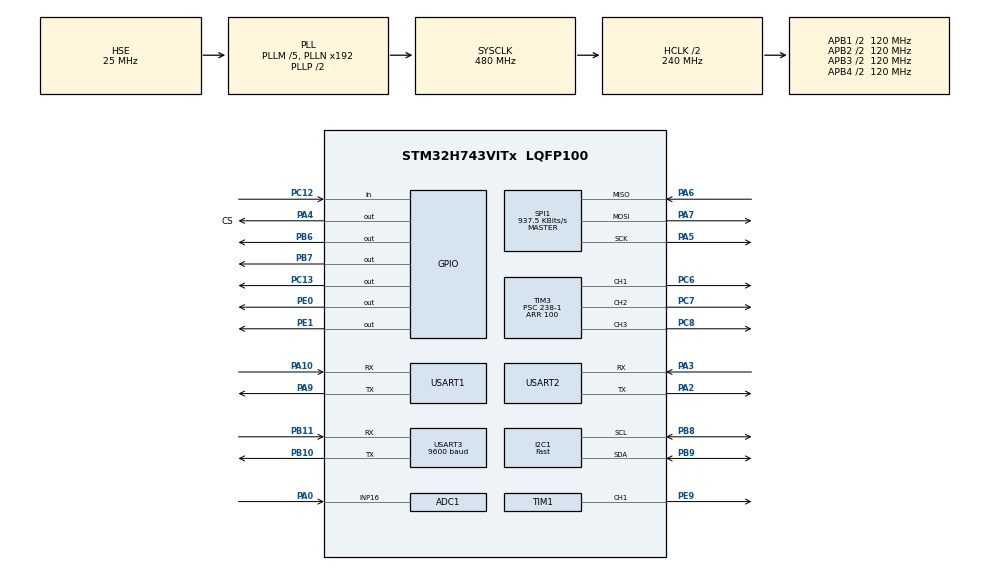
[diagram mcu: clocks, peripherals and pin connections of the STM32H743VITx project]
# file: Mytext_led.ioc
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ADC1.Channel-5\#ChannelRegularConversion=ADC_CHANNEL_16
ADC1.ContinuousConvMode=ENABLE
ADC1.NbrOfConversionFlag=1
ADC1.OffsetNumber-5\#ChannelRegularConversion=ADC_OFFSET_NONE
ADC1.OffsetSignedSaturation-5\#ChannelRegularConversion=DISABLE
ADC1.Rank-5\#ChannelRegularConversion=1
ADC1.SamplingTime-5\#ChannelRegularConversion=ADC_SAMPLETIME_387CYCLES_5
ADC1.master=1
CORTEX_M7.default_mode_Activation=1
FREERTOS.Tasks01=defaultTask,24,128,StartDefaultTask,Default,NULL,Dynamic,NULL,NULL
FREERTOS.configTOTAL_HEAP_SIZE=30000
I2C1.I2C_Speed_Mode=I2C_Fast
I2C1.Timing=0x00B03FDB
Mcu.Family=STM32H7
Mcu.Name=STM32H743VITx
Mcu.Package=LQFP100
NVIC.PriorityGroup=NVIC_PRIORITYGROUP_4
NVIC.TIM7_IRQn=true\:15\:0\:false\:false\:true\:false\:false\:true\:true
NVIC.TimeBase=TIM7_IRQn
NVIC.TimeBaseIP=TIM7
NVIC.USART2_IRQn=true\:5\:0\:false\:false\:true\:true\:true\:true\:true
NVIC.USART3_IRQn=true\:5\:0\:false\:false\:true\:true\:true\:true\:true
PA0.Mode=IN16-Single-Ended
PA0.Signal=ADC1_INP16
PA10.Mode=Asynchronous
PA10.Signal=USART1_RX
PA2.Mode=Asynchronous
PA2.Signal=USART2_TX
PA3.Mode=Asynchronous
PA3.Signal=USART2_RX
PA4.GPIO_Label=CS
PA4.PinState=GPIO_PIN_SET
PA4.Signal=GPIO_Output
PA5.Mode=Full_Duplex_Master
PA5.Signal=SPI1_SCK
PA6.Mode=Full_Duplex_Master
PA6.Signal=SPI1_MISO
PA7.Mode=Full_Duplex_Master
PA7.Signal=SPI1_MOSI
PA9.Mode=Asynchronous
PA9.Signal=USART1_TX
PB10.Mode=Asynchronous
PB10.Signal=USART3_TX
PB11.Mode=Asynchronous
PB11.Signal=USART3_RX
PB6.Signal=GPIO_Output
PB7.Signal=GPIO_Output
PB8.Mode=I2C
PB8.Signal=I2C1_SCL
PB9.Mode=I2C
PB9.Signal=I2C1_SDA
PC12.Signal=GPIO_Input
PC13.Signal=GPIO_Output
PC14-OSC32_IN\ (OSC32_IN).Mode=LSE-External-Oscillator
PC14-OSC32_IN\ (OSC32_IN).Signal=RCC_OSC32_IN
PC15-OSC32_OUT\ (OSC32_OUT).Mode=LSE-External-Oscillator
PC15-OSC32_OUT\ (OSC32_OUT).Signal=RCC_OSC32_OUT
PC6.Signal=S_TIM3_CH1
PC7.Signal=S_TIM3_CH2
PC8.Signal=S_TIM3_CH3
PE0.Signal=GPIO_Output
PE1.Signal=GPIO_Output
PE9.Signal=S_TIM1_CH1
PH0-OSC_IN\ (PH0).Mode=HSE-External-Oscillator
PH0-OSC_IN\ (PH0).Signal=RCC_OSC_IN
PH1-OSC_OUT\ (PH1).Mode=HSE-External-Oscillator
PH1-OSC_OUT\ (PH1).Signal=RCC_OSC_OUT
ProjectManager.HeapSize=0x200
ProjectManager.StackSize=0x400
ProjectManager.TargetToolchain=MDK-ARM V5.32
RCC.ADCCLockSelection=RCC_ADCCLKSOURCE_CLKP
RCC.ADCFreq_Value=64000000
RCC.APB1Freq_Value=120000000
RCC.APB2Freq_Value=120000000
RCC.APB3Freq_Value=120000000
RCC.APB4Freq_Value=120000000
RCC.CortexFreq_Value=480000000
RCC.D1PPRE=RCC_APB3_DIV2
RCC.D2PPRE1=RCC_APB1_DIV2
RCC.D2PPRE2=RCC_APB2_DIV2
RCC.D3PPRE=RCC_APB4_DIV2
RCC.DIVM1=5
RCC.DIVM2=5
RCC.DIVM3=5
RCC.DIVN1=192
RCC.DIVN2=48
RCC.DIVN3=48
RCC.HCLKFreq_Value=240000000
RCC.HPRE=RCC_HCLK_DIV2
RCC.PLL2FRACN=0
RCC.PLL3FRACN=0
RCC.PLLFRACN=0
RCC.PLLSourceVirtual=RCC_PLLSOURCE_HSE
RCC.SPI123CLockSelection=RCC_SPI123CLKSOURCE_PLL3
RCC.SYSCLKFreq_VALUE=480000000
RCC.SYSCLKSource=RCC_SYSCLKSOURCE_PLLCLK
RCC.USBFreq_Value=480000000
SH.S_TIM1_CH1.0=TIM1_CH1,PWM Generation1 CH1
SH.S_TIM3_CH1.0=TIM3_CH1,PWM Generation1 CH1
SH.S_TIM3_CH2.0=TIM3_CH2,PWM Generation2 CH2
SH.S_TIM3_CH3.0=TIM3_CH3,PWM Generation3 CH3
SPI1.BaudRatePrescaler=SPI_BAUDRATEPRESCALER_128
SPI1.CLKPhase=SPI_PHASE_2EDGE
SPI1.CalculateBaudRate=937.5 KBits/s
SPI1.DataSize=SPI_DATASIZE_8BIT
SPI1.Direction=SPI_DIRECTION_2LINES
SPI1.Mode=SPI_MODE_MASTER
SPI1.VirtualType=VM_MASTER
STMicroelectronics.X-CUBE-ALGOBUILD.1.3.0.LibraryCcDSPOoLibraryJjDSPOoLibrary=true
TIM1.Channel-PWM\ Generation1\ CH1=TIM_CHANNEL_1
TIM1.Period=19999
TIM1.Prescaler=399
TIM1.Pulse-PWM\ Generation1\ CH1=1500
TIM3.Channel-PWM\ Generation1\ CH1=TIM_CHANNEL_1
TIM3.Channel-PWM\ Generation2\ CH2=TIM_CHANNEL_2
TIM3.Channel-PWM\ Generation3\ CH3=TIM_CHANNEL_3
TIM3.Period=100
TIM3.Prescaler=238-1
USART1.VirtualMode-Asynchronous=VM_ASYNC
USART2.VirtualMode-Asynchronous=VM_ASYNC
USART3.BaudRate=9600
USART3.VirtualMode-Asynchronous=VM_ASYNC
VP_FREERTOS_VS_CMSIS_V2.Mode=CMSIS_V2
VP_MEMORYMAP_VS_MEMORYMAP.Mode=CurAppReg
VP_STMicroelectronics.X-CUBE-ALGOBUILD_VS_DSPOoLibraryJjLibrary_1.3.0_1.3.0.Mode=DSPOoLibraryJjLibrary
VP_SYS_VS_tim7.Mode=TIM7
board=custom

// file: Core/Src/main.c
/* USER CODE BEGIN Header */
/**
  ******************************************************************************
  * @file           : main.c
  * @brief          : Main program body
  ******************************************************************************
  */
/* USER CODE END Header */
#include "main.h"
#include "cmsis_os.h"
#include "adc.h"
#include "i2c.h"
#include "spi.h"
#include "tim.h"
#include "usart.h"
#include "gpio.h"

/* USER CODE BEGIN Includes */
#include <stdio.h>
#include <string.h>
#include "led.h"
#include "attention.h"
#include "arm_math.h"
#include "servo.h"
#include "L431_uart.h"

#include "IIC.h"
#include "inv_mpu.h"
#include "inv_mpu_dmp_motion_driver.h"
#include "mpu6050.h"
#include "stdio.h"
#include "3TOF3Motor.h"
/* USER CODE END Includes */

void SystemClock_Config(void);
void PeriphCommonClock_Config(void);
static void MPU_Config(void);
void MX_FREERTOS_Init(void);

int main(void)
{

  /* MPU Configuration--------------------------------------------------------*/
  MPU_Config();

  /* MCU Configuration--------------------------------------------------------*/

  /* Reset of all peripherals, Initializes the Flash interface and the Systick. */
  HAL_Init();

  /* Configure the system clock */
  SystemClock_Config();

  /* Configure the peripherals common clocks */
  PeriphCommonClock_Config();

  /* Initialize all configured peripherals */
  MX_GPIO_Init();
  MX_SPI1_Init();
  MX_USART1_UART_Init();
  MX_USART3_UART_Init();
  MX_ADC1_Init();
  MX_USART2_UART_Init();
  MX_TIM1_Init();
  MX_I2C1_Init();
  MX_TIM3_Init();
  /* USER CODE BEGIN 2 */
    SCB_EnableICache();
    SCB_EnableDCache();

	// 启动 USART2 中断接收
	App_UART_Init();

	// 初始化舵机（归中）
    Servo_Init();

    printf("FreeRTOS version: simulated attention -> servo smoothing.\r\n");

	// MPU6050 初始化（软件 I2C）
	MPU_Init();
	if (mpu_dmp_init() != 0) {
		printf("DMP init failed!\r\n");
	} else {
		printf("DMP init success.\r\n");
	}

	Balance_Init();

  /* USER CODE END 2 */

  /* Init scheduler */
  osKernelInitialize();  /* Call init function for freertos objects (in cmsis_os2.c) */
  MX_FREERTOS_Init();

  /* Start scheduler */
  osKernelStart();

  /* We should never get here as control is now taken by the scheduler */

  /* Infinite loop */
  while (1)
  {

  }
}

void SystemClock_Config(void)
{
  RCC_OscInitTypeDef RCC_OscInitStruct = {0};
  RCC_ClkInitTypeDef RCC_ClkInitStruct = {0};

  /** Supply configuration update enable
  */
  HAL_PWREx_ConfigSupply(PWR_LDO_SUPPLY);

  /** Configure the main internal regulator output voltage
  */
  __HAL_PWR_VOLTAGESCALING_CONFIG(PWR_REGULATOR_VOLTAGE_SCALE0);

  while(!__HAL_PWR_GET_FLAG(PWR_FLAG_VOSRDY)) {}

  /** Initializes the RCC Oscillators according to the specified parameters
  * in the RCC_OscInitTypeDef structure.
  */
  RCC_OscInitStruct.OscillatorType = RCC_OSCILLATORTYPE_HSI|RCC_OSCILLATORTYPE_HSE;
  RCC_OscInitStruct.HSEState = RCC_HSE_ON;
  RCC_OscInitStruct.HSIState = RCC_HSI_DIV1;
  RCC_OscInitStruct.HSICalibrationValue = RCC_HSICALIBRATION_DEFAULT;
  RCC_OscInitStruct.PLL.PLLState = RCC_PLL_ON;
  RCC_OscInitStruct.PLL.PLLSource = RCC_PLLSOURCE_HSE;
  RCC_OscInitStruct.PLL.PLLM = 5;
  RCC_OscInitStruct.PLL.PLLN = 192;
  RCC_OscInitStruct.PLL.PLLP = 2;
  RCC_OscInitStruct.PLL.PLLQ = 2;
  RCC_OscInitStruct.PLL.PLLR = 2;
  RCC_OscInitStruct.PLL.PLLRGE = RCC_PLL1VCIRANGE_2;
  RCC_OscInitStruct.PLL.PLLVCOSEL = RCC_PLL1VCOWIDE;
  RCC_OscInitStruct.PLL.PLLFRACN = 0;
  if (HAL_RCC_OscConfig(&RCC_OscInitStruct) != HAL_OK)
  {
    Error_Handler();
  }

  /** Initializes the CPU, AHB and APB buses clocks
  */
  RCC_ClkInitStruct.ClockType = RCC_CLOCKTYPE_HCLK|RCC_CLOCKTYPE_SYSCLK
                              |RCC_CLOCKTYPE_PCLK1|RCC_CLOCKTYPE_PCLK2
                              |RCC_CLOCKTYPE_D3PCLK1|RCC_CLOCKTYPE_D1PCLK1;
  RCC_ClkInitStruct.SYSCLKSource = RCC_SYSCLKSOURCE_PLLCLK;
  RCC_ClkInitStruct.SYSCLKDivider = RCC_SYSCLK_DIV1;
  RCC_ClkInitStruct.AHBCLKDivider = RCC_HCLK_DIV2;
  RCC_ClkInitStruct.APB3CLKDivider = RCC_APB3_DIV2;
  RCC_ClkInitStruct.APB1CLKDivider = RCC_APB1_DIV2;
  RCC_ClkInitStruct.APB2CLKDivider = RCC_APB2_DIV2;
  RCC_ClkInitStruct.APB4CLKDivider = RCC_APB4_DIV2;

  if (HAL_RCC_ClockConfig(&RCC_ClkInitStruct, FLASH_LATENCY_4) != HAL_OK)
  {
    Error_Handler();
  }
}

void PeriphCommonClock_Config(void)
{
  RCC_PeriphCLKInitTypeDef PeriphClkInitStruct = {0};

  /** Initializes the peripherals clock
  */
  PeriphClkInitStruct.PeriphClockSelection = RCC_PERIPHCLK_CKPER;
  PeriphClkInitStruct.CkperClockSelection = RCC_CLKPSOURCE_HSI;
  if (HAL_RCCEx_PeriphCLKConfig(&PeriphClkInitStruct) != HAL_OK)
  {
    Error_Handler();
  }
}

 /* MPU Configuration */

void MPU_Config(void)
{
  MPU_Region_InitTypeDef MPU_InitStruct = {0};

  /* Disables the MPU */
  HAL_MPU_Disable();

  /** Initializes and configures the Region and the memory to be protected
  */
  MPU_InitStruct.Enable = MPU_REGION_ENABLE;
  MPU_InitStruct.Number = MPU_REGION_NUMBER0;
  MPU_InitStruct.BaseAddress = 0x0;
  MPU_InitStruct.Size = MPU_REGION_SIZE_4GB;
  MPU_InitStruct.SubRegionDisable = 0x87;
  MPU_InitStruct.TypeExtField = MPU_TEX_LEVEL0;
  MPU_InitStruct.AccessPermission = MPU_REGION_NO_ACCESS;
  MPU_InitStruct.DisableExec = MPU_INSTRUCTION_ACCESS_DISABLE;
  MPU_InitStruct.IsShareable = MPU_ACCESS_SHAREABLE;
  MPU_InitStruct.IsCacheable = MPU_ACCESS_NOT_CACHEABLE;
  MPU_InitStruct.IsBufferable = MPU_ACCESS_NOT_BUFFERABLE;

  HAL_MPU_ConfigRegion(&MPU_InitStruct);
  /* Enables the MPU */
  HAL_MPU_Enable(MPU_PRIVILEGED_DEFAULT);

}

void HAL_TIM_PeriodElapsedCallback(TIM_HandleTypeDef *htim)
{
  if (htim->Instance == TIM7)
  {
    HAL_IncTick();
  }
}

void Error_Handler(void)
{
  __disable_irq();
  while (1)
  {
  }
}

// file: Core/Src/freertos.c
/* USER CODE BEGIN Header */
/**
  ******************************************************************************
  * File Name          : freertos.c
  * Description        : Code for freertos applications
  ******************************************************************************
  * @attention
  *
  * Copyright (c) 2026 STMicroelectronics.
  * All rights reserved.
  *
  * This software is licensed under terms that can be found in the LICENSE file
  * in the root directory of this software component.
  * If no LICENSE file comes with this software, it is provided AS-IS.
  *
  ******************************************************************************
  */
/* USER CODE END Header */

#include "FreeRTOS.h"
#include "task.h"
#include "main.h"
#include "cmsis_os.h"

/* USER CODE BEGIN Includes */
#include "servo.h"
#include <stdio.h>
#include "queue.h"
#include "attention.h"
#include "mpu6050.h"
#include "inv_mpu.h"
#include "inv_mpu_dmp_motion_driver.h"
#include "3TOF3Motor.h"
#include "balance.h"
/* USER CODE END Includes */

/* USER CODE BEGIN PD */
#define SIM_ATT_MIN     0
#define SIM_ATT_MAX     100
#define SIM_STEP        1
#define SIM_DELAY_MS    50      // 模拟专注度变化间隔 (ms)

extern I2C_HandleTypeDef hi2c1;
extern UART_HandleTypeDef huart3;

typedef struct {
    float amplitude;        // 摆动幅度（度）
    uint16_t half_period_ms; // 摆动半周期（ms）
} SwingParams_t;

static const SwingParams_t swing_modes[4] = {
    // 索引0不用，档位1~3对应1,2,3
    {0.0f, 0},          // 占位
    {30.0f, 800},       // 档位1: 极度不专注 -> 大幅摆动，周期1.6秒
    {15.0f,  600},       // 档位2: 稍微不专注 -> 中幅摆动，周期1.2秒
    {0.0f,  0}        // 档位3: 专注 -> 轻微摆动（几乎静止）
};

/* USER CODE END PD */

/* USER CODE BEGIN Variables */

float current_roll = 0.0f;

// 队列句柄：用于传递从 L431 收到的完整数据行（每行最大32字节）
QueueHandle_t xUART_LineQueue = NULL;
// 队列句柄：用于传递专注度值 (0~100)
QueueHandle_t xAttentionQueue = NULL;
 // 队列句柄：用于传递距离
QueueHandle_t xTOFQueue = NULL;

/* USER CODE END Variables */
/* Definitions for defaultTask */
osThreadId_t defaultTaskHandle;
const osThreadAttr_t defaultTask_attributes = {
  .name = "defaultTask",
  .stack_size = 128 * 4,
  .priority = (osPriority_t) osPriorityNormal,
};

/* USER CODE BEGIN FunctionPrototypes */
void vAttentionSimulatorTask(void *pvParameters);
void vServoControlTask(void *pvParameters);
void vUART_ProcessTask(void *pvParameters);
void vMPU6050_Task(void *pvParameters);
void vTOF_ReadTask(void *pvParameters);
void vBalanceControlTask(void *pvParameters);
//void vMPU6050_Task(void *pvParameters);
/* USER CODE END FunctionPrototypes */

void StartDefaultTask(void *argument);

void MX_FREERTOS_Init(void); /* (MISRA C 2004 rule 8.1) */

void MX_FREERTOS_Init(void) {

  /* USER CODE BEGIN RTOS_QUEUES */
  /* add queues, ... */

  // 创建专注度队列（容量10，每个元素为 uint8_t）
  xAttentionQueue = xQueueCreate(50, sizeof(uint8_t));
  if (xAttentionQueue == NULL) while(1);

  // 创建行数据队列（容量20，每个元素为32字节，足够存放一行 "ch1,ch2\n" 字符串
  xUART_LineQueue = xQueueCreate(20, 32);
  if (xUART_LineQueue == NULL) while(1);

  // 创建距离队列（容量10，每个元素为 uint32_t）
  xTOFQueue = xQueueCreate(10, sizeof(uint32_t)*2);
  if (xTOFQueue == NULL) while(1);   // 修正变量名
  /* USER CODE END RTOS_QUEUES */

  /* Create the thread(s) */
  /* creation of defaultTask */
  defaultTaskHandle = osThreadNew(StartDefaultTask, NULL, &defaultTask_attributes);

  /* USER CODE BEGIN RTOS_THREADS */
  /* add threads, ... */

  // 创建 UART 数据处理任务（处理真实脑电数据，优先级与模拟任务相同）
  xTaskCreate(vUART_ProcessTask, "UARTProc", 512, NULL, 2, NULL);
//  // 创建模拟专注度生成任务（优先级较高）
  //xTaskCreate(vAttentionSimulatorTask, "AttentionSim", 256, NULL, 2, NULL);
  // 创建舵机控制任务（优先级较低）
  //xTaskCreate(vServoControlTask, "ServoCtrl", 256, NULL, 1, NULL);
  // 创建陀螺仪读数任务（优先级较低）
  xTaskCreate(vMPU6050_Task, "MPU6050", 512, NULL, 1, NULL);
  // 创建读取距离任务（优先级较高）
  xTaskCreate(vTOF_ReadTask, "TOFRead", 512, NULL, 2, NULL);
  // 创建平衡台控制任务（堆栈稍大）
  xTaskCreate(vBalanceControlTask, "BalanceCtrl", 1024, NULL, 2, NULL);
  /* USER CODE END RTOS_THREADS */

}

void StartDefaultTask(void *argument)
{
  for(;;)
  {
    osDelay(1);
  }
}

/* USER CODE BEGIN Application */

// 模拟专注度生成任务（三角波，0~100 循环）
void vAttentionSimulatorTask(void *pvParameters)
{
    uint8_t sim_attention = 50;
    int8_t step = SIM_STEP;
    for (;;)
    {
        sim_attention += step;
        if (sim_attention >= SIM_ATT_MAX) { sim_attention = SIM_ATT_MAX; step = -SIM_STEP; }
        else if (sim_attention <= SIM_ATT_MIN) { sim_attention = SIM_ATT_MIN; step = SIM_STEP; }

        // 直接发送 0~100 的值
        xQueueSend(xAttentionQueue, &sim_attention, portMAX_DELAY);

        vTaskDelay(pdMS_TO_TICKS(SIM_DELAY_MS));
    }
}

// 舵机控制任务：接收专注度值，平滑转动到对应角度
void vServoControlTask(void *pvParameters)
{
    uint8_t current_level = 2;   // 初始档位
    float target_angle = 0.0f;
    int direction = 1;            // 1: 向右倾斜, -1: 向左倾斜
    uint32_t last_change = 0;

    last_change = xTaskGetTickCount();

    for (;;)
    {
        uint8_t new_level;
        if (xQueueReceive(xAttentionQueue, &new_level, 0) == pdTRUE)
        {
            if (new_level >= 1 && new_level <= 3 && new_level != current_level)
            {
                current_level = new_level;
                printf("[ATT] Swing mode changed to %d\r\n", current_level);
            }
        }

        SwingParams_t params = swing_modes[current_level];
        uint32_t now = xTaskGetTickCount();
        if (params.half_period_ms > 0 && (now - last_change) >= pdMS_TO_TICKS(params.half_period_ms))
        {
            direction = -direction;
            target_angle = direction * params.amplitude;
            last_change = now;
            int16_t servo_angle = 90 + (int16_t)target_angle;
            if (servo_angle < 0) servo_angle = 0;
            if (servo_angle > 180) servo_angle = 180;
            Servo_SmoothToAngle((uint8_t)servo_angle, 5);
        }

        vTaskDelay(pdMS_TO_TICKS(20));
    }
}

// UART 数据处理任务：从队列接收行数据，解析 ch1,ch2，攒够 256 对后计算专注度并发送到专注度队列
void vUART_ProcessTask(void *pvParameters)
{
    char line[32];
    uint16_t ch1_buf[256], ch2_buf[256];
    uint16_t sample_cnt = 0;

    for (;;)
    {
        if (xQueueReceive(xUART_LineQueue, &line, portMAX_DELAY) == pdTRUE)
        {
			 //printf("Received line: %s\n", line);
            uint16_t ch1, ch2;
            if (sscanf(line, "%hu,%hu", &ch1, &ch2) == 2)
            {
                ch1_buf[sample_cnt] = ch1;
                ch2_buf[sample_cnt] = ch2;
                sample_cnt++;
                if (sample_cnt == 256)
                {
                    // 计算专注度
					uint8_t attention = compute_attention_from_adc(ch1_buf);

					// 打印到串口（USART1）
					//printf("Attention: %d\r\n", attention);

					// 发送到手机 APP（USART3）
					char msg[8];
					sprintf(msg, "%d\n", attention);
					HAL_UART_Transmit(&huart3, (uint8_t*)msg, strlen(msg), 100);

					// 发送到舵机控制队列
					xQueueSend(xAttentionQueue, &attention, 0);

					sample_cnt = 0;
                }
            }
        }
    }
}

// MPU6050 数据读取任务（使用 DMP 获取姿态角）
void vMPU6050_Task(void *pvParameters)
{
    float pitch = 0, roll = 0, yaw = 0;
    for (;;)
    {
        if (mpu_dmp_get_data(&pitch, &roll, &yaw) == 0) {
            current_roll = roll;   // 更新全局 Roll 角
            // 可选打印，可不打印
            // printf("[MPU]Pitch: %.2f, Roll: %.2f, Yaw: %.2f\r\n", pitch, roll, yaw);
        }
        vTaskDelay(pdMS_TO_TICKS(100));  // 10Hz 更新频率足够
    }
}
// 距离读取任务
void vTOF_ReadTask(void *pvParameters)
{
    MultiTOF_Init();
    for (;;)
    {
        MultiTOF_Update();
        printf("Left: %ld mm, Right: %ld mm\r\n", dist_left, dist_right);
        vTaskDelay(pdMS_TO_TICKS(500));
    }
}

// 平衡台控制任务（放在 freertos.c 中）
void vBalanceControlTask(void *pvParameters)
{
    uint8_t attention = 50;
    for (;;)
    {
        // 获取专注度（非阻塞）
        xQueueReceive(xAttentionQueue, &attention, 0);

        // 直接读取全局距离（在 vTOF_ReadTask 中更新）
        extern int32_t dist_left, dist_right;
        Balance_Update(attention, (float)dist_left, (float)dist_right);

        vTaskDelay(pdMS_TO_TICKS(20));
    }
}

/* USER CODE END Application */
